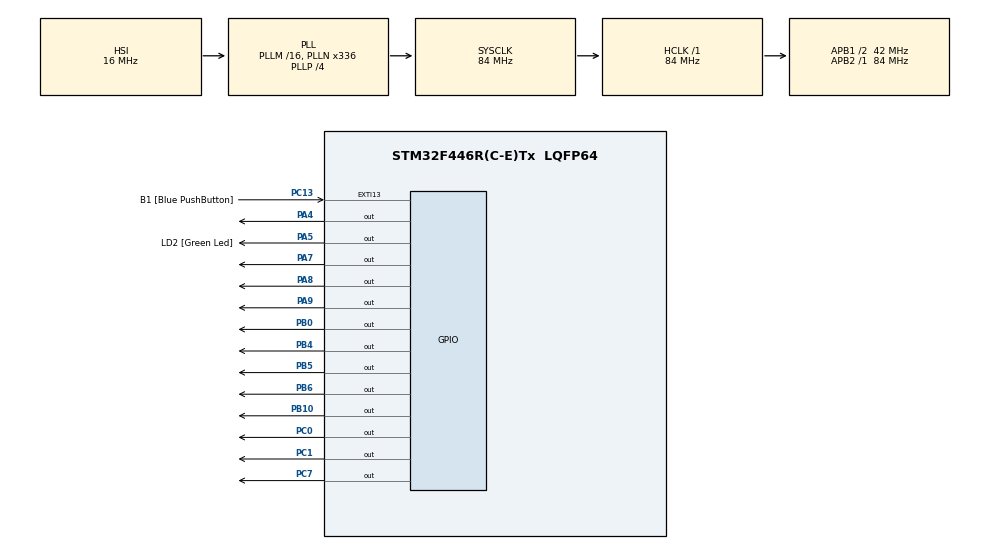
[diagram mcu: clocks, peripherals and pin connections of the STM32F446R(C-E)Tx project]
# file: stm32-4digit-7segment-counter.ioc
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Mcu.Family=STM32F4
Mcu.Name=STM32F446R(C-E)Tx
Mcu.Package=LQFP64
NVIC.PriorityGroup=NVIC_PRIORITYGROUP_0
PA13.GPIO_Label=TMS
PA13.Signal=SYS_JTMS-SWDIO
PA14.GPIO_Label=TCK
PA14.Signal=SYS_JTCK-SWCLK
PA2.GPIO_Label=USART_TX
PA2.Signal=USART2_TX
PA3.GPIO_Label=USART_RX
PA3.Signal=USART2_RX
PA4.Signal=GPIO_Output
PA5.GPIO_Label=LD2 [Green Led]
PA5.Signal=GPIO_Output
PA7.Signal=GPIO_Output
PA8.Signal=GPIO_Output
PA9.Signal=GPIO_Output
PB0.Signal=GPIO_Output
PB10.Signal=GPIO_Output
PB3.GPIO_Label=SWO
PB3.Signal=SYS_JTDO-SWO
PB4.Signal=GPIO_Output
PB5.Signal=GPIO_Output
PB6.Signal=GPIO_Output
PC0.Signal=GPIO_Output
PC1.Signal=GPIO_Output
PC13.GPIO_Label=B1 [Blue PushButton]
PC13.GPIO_ModeDefaultEXTI=GPIO_MODE_IT_FALLING
PC13.Signal=GPXTI13
PC14-OSC32_IN.Signal=RCC_OSC32_IN
PC15-OSC32_OUT.Signal=RCC_OSC32_OUT
PC7.Signal=GPIO_Output
PH0-OSC_IN.Signal=RCC_OSC_IN
PH1-OSC_OUT.Signal=RCC_OSC_OUT
ProjectManager.HeapSize=0x200
ProjectManager.StackSize=0x400
ProjectManager.TargetToolchain=STM32CubeIDE
RCC.AHBFreq_Value=84000000
RCC.APB1CLKDivider=RCC_HCLK_DIV2
RCC.APB1Freq_Value=42000000
RCC.APB1TimFreq_Value=84000000
RCC.APB2Freq_Value=84000000
RCC.APB2TimFreq_Value=84000000
RCC.CortexFreq_Value=84000000
RCC.FLatency-AdvancedSettings=FLASH_LATENCY_2
RCC.HCLKFreq_Value=84000000
RCC.HSE_VALUE=8000000
RCC.HSI_VALUE=16000000
RCC.LSE_VALUE=32768
RCC.PLLN=336
RCC.PLLP=RCC_PLLP_DIV4
RCC.SYSCLKFreq_VALUE=84000000
RCC.SYSCLKSource=RCC_SYSCLKSOURCE_PLLCLK
RCC.USBFreq_Value=168000000
RCC.VCOOutputFreq_Value=336000000
board=NUCLEO-F446RE

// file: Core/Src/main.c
/* USER CODE BEGIN Header */
/**
 ******************************************************************************
 * @file           : main.c
 * @brief          : Main program body
 ******************************************************************************
 * @attention
 *
 * Copyright (c) 2026 STMicroelectronics.
 * All rights reserved.
 *
 * This software is licensed under terms that can be found in the LICENSE file
 * in the root directory of this software component.
 * If no LICENSE file comes with this software, it is provided AS-IS.
 *
 ******************************************************************************
 */
/* USER CODE END Header */
#include "main.h"

void SystemClock_Config(void);
static void MX_GPIO_Init(void);
/* USER CODE BEGIN PFP */

void Display_Digit(uint8_t digit);
void Display_Number(uint16_t number);

/* USER CODE END PFP */

/* USER CODE BEGIN 0 */

/* Segment order: A, B, C, D, E, F, G, DP */
static const uint8_t digit_segments[10][8] = { { 1, 1, 1, 1, 1, 1, 0, 0 }, // 0
		{ 0, 1, 1, 0, 0, 0, 0, 0 }, // 1
		{ 1, 1, 0, 1, 1, 0, 1, 0 }, // 2
		{ 1, 1, 1, 1, 0, 0, 1, 0 }, // 3
		{ 0, 1, 1, 0, 0, 1, 1, 0 }, // 4
		{ 1, 0, 1, 1, 0, 1, 1, 0 }, // 5
		{ 1, 0, 1, 1, 1, 1, 1, 0 }, // 6
		{ 1, 1, 1, 0, 0, 0, 0, 0 }, // 7
		{ 1, 1, 1, 1, 1, 1, 1, 0 }, // 8
		{ 1, 1, 1, 1, 0, 1, 1, 0 }  // 9
};

/* USER CODE END 0 */

int main(void) {

	/* MCU Configuration--------------------------------------------------------*/

	/* Reset of all peripherals, Initializes the Flash interface and the Systick. */
	HAL_Init();

	/* Configure the system clock */
	SystemClock_Config();

	/* Initialize all configured peripherals */
	MX_GPIO_Init();
	/* USER CODE BEGIN 2 */

	uint16_t counter = 0;
	uint32_t last_update = HAL_GetTick();

	/* USER CODE END 2 */

	/* Infinite loop */
	while (1) {

		/* USER CODE BEGIN 3 */

		Display_Number(counter);

		if (HAL_GetTick() - last_update >= 1000) {
			last_update = HAL_GetTick();

			counter++;

			if (counter > 999) {
				counter = 0;
			}
		}

	}
	/* USER CODE END 3 */
}

void SystemClock_Config(void) {
	RCC_OscInitTypeDef RCC_OscInitStruct = { 0 };
	RCC_ClkInitTypeDef RCC_ClkInitStruct = { 0 };

	/** Configure the main internal regulator output voltage
	 */
	__HAL_RCC_PWR_CLK_ENABLE();
	__HAL_PWR_VOLTAGESCALING_CONFIG(PWR_REGULATOR_VOLTAGE_SCALE3);

	/** Initializes the RCC Oscillators according to the specified parameters
	 * in the RCC_OscInitTypeDef structure.
	 */
	RCC_OscInitStruct.OscillatorType = RCC_OSCILLATORTYPE_HSI;
	RCC_OscInitStruct.HSIState = RCC_HSI_ON;
	RCC_OscInitStruct.HSICalibrationValue = RCC_HSICALIBRATION_DEFAULT;
	RCC_OscInitStruct.PLL.PLLState = RCC_PLL_ON;
	RCC_OscInitStruct.PLL.PLLSource = RCC_PLLSOURCE_HSI;
	RCC_OscInitStruct.PLL.PLLM = 16;
	RCC_OscInitStruct.PLL.PLLN = 336;
	RCC_OscInitStruct.PLL.PLLP = RCC_PLLP_DIV4;
	RCC_OscInitStruct.PLL.PLLQ = 2;
	RCC_OscInitStruct.PLL.PLLR = 2;
	if (HAL_RCC_OscConfig(&RCC_OscInitStruct) != HAL_OK) {
		Error_Handler();
	}

	/** Initializes the CPU, AHB and APB buses clocks
	 */
	RCC_ClkInitStruct.ClockType = RCC_CLOCKTYPE_HCLK | RCC_CLOCKTYPE_SYSCLK
			| RCC_CLOCKTYPE_PCLK1 | RCC_CLOCKTYPE_PCLK2;
	RCC_ClkInitStruct.SYSCLKSource = RCC_SYSCLKSOURCE_PLLCLK;
	RCC_ClkInitStruct.AHBCLKDivider = RCC_SYSCLK_DIV1;
	RCC_ClkInitStruct.APB1CLKDivider = RCC_HCLK_DIV2;
	RCC_ClkInitStruct.APB2CLKDivider = RCC_HCLK_DIV1;

	if (HAL_RCC_ClockConfig(&RCC_ClkInitStruct, FLASH_LATENCY_2) != HAL_OK) {
		Error_Handler();
	}
}

static void MX_GPIO_Init(void) {
	GPIO_InitTypeDef GPIO_InitStruct = { 0 };

	/* GPIO Ports Clock Enable */
	__HAL_RCC_GPIOC_CLK_ENABLE();
	__HAL_RCC_GPIOH_CLK_ENABLE();
	__HAL_RCC_GPIOA_CLK_ENABLE();
	__HAL_RCC_GPIOB_CLK_ENABLE();

	/*Configure GPIO pin Output Level */
	HAL_GPIO_WritePin(GPIOC, GPIO_PIN_0 | GPIO_PIN_1 | GPIO_PIN_7,
			GPIO_PIN_RESET);

	/*Configure GPIO pin Output Level */
	HAL_GPIO_WritePin(GPIOA,
			GPIO_PIN_4 | LD2_Pin | GPIO_PIN_7 | GPIO_PIN_8 | GPIO_PIN_9,
			GPIO_PIN_RESET);

	/*Configure GPIO pin Output Level */
	HAL_GPIO_WritePin(GPIOB,
			GPIO_PIN_0 | GPIO_PIN_10 | GPIO_PIN_4 | GPIO_PIN_5 | GPIO_PIN_6,
			GPIO_PIN_RESET);

	/*Configure GPIO pin : B1_Pin */
	GPIO_InitStruct.Pin = B1_Pin;
	GPIO_InitStruct.Mode = GPIO_MODE_IT_FALLING;
	GPIO_InitStruct.Pull = GPIO_NOPULL;
	HAL_GPIO_Init(B1_GPIO_Port, &GPIO_InitStruct);

	/*Configure GPIO pins : PC0 PC1 PC7 */
	GPIO_InitStruct.Pin = GPIO_PIN_0 | GPIO_PIN_1 | GPIO_PIN_7;
	GPIO_InitStruct.Mode = GPIO_MODE_OUTPUT_PP;
	GPIO_InitStruct.Pull = GPIO_NOPULL;
	GPIO_InitStruct.Speed = GPIO_SPEED_FREQ_LOW;
	HAL_GPIO_Init(GPIOC, &GPIO_InitStruct);

	/*Configure GPIO pins : USART_TX_Pin USART_RX_Pin */
	GPIO_InitStruct.Pin = USART_TX_Pin | USART_RX_Pin;
	GPIO_InitStruct.Mode = GPIO_MODE_AF_PP;
	GPIO_InitStruct.Pull = GPIO_NOPULL;
	GPIO_InitStruct.Speed = GPIO_SPEED_FREQ_VERY_HIGH;
	GPIO_InitStruct.Alternate = GPIO_AF7_USART2;
	HAL_GPIO_Init(GPIOA, &GPIO_InitStruct);

	/*Configure GPIO pins : PA4 LD2_Pin PA7 PA8
	 PA9 */
	GPIO_InitStruct.Pin = GPIO_PIN_4 | LD2_Pin | GPIO_PIN_7 | GPIO_PIN_8
			| GPIO_PIN_9;
	GPIO_InitStruct.Mode = GPIO_MODE_OUTPUT_PP;
	GPIO_InitStruct.Pull = GPIO_NOPULL;
	GPIO_InitStruct.Speed = GPIO_SPEED_FREQ_LOW;
	HAL_GPIO_Init(GPIOA, &GPIO_InitStruct);

	/*Configure GPIO pins : PB0 PB10 PB4 PB5
	 PB6 */
	GPIO_InitStruct.Pin = GPIO_PIN_0 | GPIO_PIN_10 | GPIO_PIN_4 | GPIO_PIN_5
			| GPIO_PIN_6;
	GPIO_InitStruct.Mode = GPIO_MODE_OUTPUT_PP;
	GPIO_InitStruct.Pull = GPIO_NOPULL;
	GPIO_InitStruct.Speed = GPIO_SPEED_FREQ_LOW;
	HAL_GPIO_Init(GPIOB, &GPIO_InitStruct);

}

/* USER CODE BEGIN 4 */

void Display_Digit(uint8_t digit) {
	if (digit > 9) {
		return;
	}

	HAL_GPIO_WritePin(GPIOB, GPIO_PIN_5,
			digit_segments[digit][0] ? GPIO_PIN_SET : GPIO_PIN_RESET); // A

	HAL_GPIO_WritePin(GPIOB, GPIO_PIN_4,
			digit_segments[digit][1] ? GPIO_PIN_SET : GPIO_PIN_RESET); // B

	HAL_GPIO_WritePin(GPIOB, GPIO_PIN_10,
			digit_segments[digit][2] ? GPIO_PIN_SET : GPIO_PIN_RESET); // C

	HAL_GPIO_WritePin(GPIOA, GPIO_PIN_8,
			digit_segments[digit][3] ? GPIO_PIN_SET : GPIO_PIN_RESET); // D

	HAL_GPIO_WritePin(GPIOA, GPIO_PIN_9,
			digit_segments[digit][4] ? GPIO_PIN_SET : GPIO_PIN_RESET); // E

	HAL_GPIO_WritePin(GPIOC, GPIO_PIN_7,
			digit_segments[digit][5] ? GPIO_PIN_SET : GPIO_PIN_RESET); // F

	HAL_GPIO_WritePin(GPIOB, GPIO_PIN_6,
			digit_segments[digit][6] ? GPIO_PIN_SET : GPIO_PIN_RESET); // G

	HAL_GPIO_WritePin(GPIOA, GPIO_PIN_7,
			digit_segments[digit][7] ? GPIO_PIN_SET : GPIO_PIN_RESET); // DP
}

void Display_Number(uint16_t number) {
	uint8_t digits[4];

	digits[0] = (number / 1000) % 10;
	digits[1] = (number / 100) % 10;
	digits[2] = (number / 10) % 10;
	digits[3] = number % 10;

	for (uint8_t i = 0; i < 4; i++) {
		// Turn off all four digits
		HAL_GPIO_WritePin(GPIOC, GPIO_PIN_0 | GPIO_PIN_1, GPIO_PIN_RESET);
		HAL_GPIO_WritePin(GPIOB, GPIO_PIN_0, GPIO_PIN_RESET);
		HAL_GPIO_WritePin(GPIOA, GPIO_PIN_4, GPIO_PIN_RESET);

		Display_Digit(digits[i]);

		/* Enable the selected digit */
		// Enable the selected digit
		switch (i) {
		case 0:
			HAL_GPIO_WritePin(GPIOC, GPIO_PIN_0, GPIO_PIN_SET);
			break;

		case 1:
			HAL_GPIO_WritePin(GPIOC, GPIO_PIN_1, GPIO_PIN_SET);
			break;

		case 2:
			HAL_GPIO_WritePin(GPIOB, GPIO_PIN_0, GPIO_PIN_SET);
			break;

		case 3:
			HAL_GPIO_WritePin(GPIOA, GPIO_PIN_4, GPIO_PIN_SET);
			break;
		}

		HAL_Delay(2);
	}

	// Turn off all four digits
	HAL_GPIO_WritePin(GPIOC, GPIO_PIN_0 | GPIO_PIN_1, GPIO_PIN_RESET);
	HAL_GPIO_WritePin(GPIOB, GPIO_PIN_0, GPIO_PIN_RESET);
	HAL_GPIO_WritePin(GPIOA, GPIO_PIN_4, GPIO_PIN_RESET);
}

/* USER CODE END 4 */

void Error_Handler(void) {
	__disable_irq();
	while (1) {
	}
}
